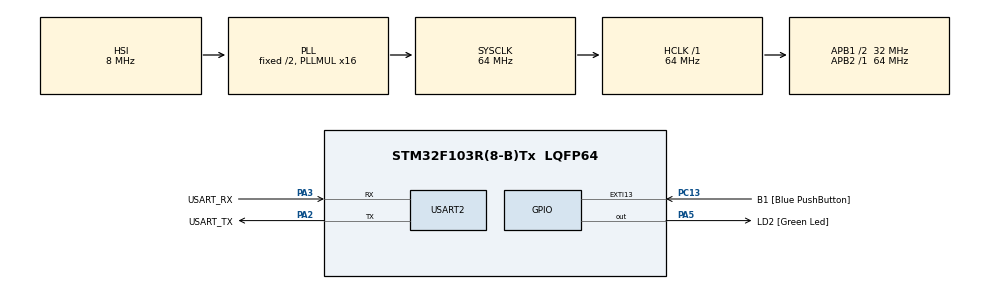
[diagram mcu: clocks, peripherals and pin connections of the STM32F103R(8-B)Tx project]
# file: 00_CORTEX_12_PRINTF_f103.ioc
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Mcu.Family=STM32F1
Mcu.Name=STM32F103R(8-B)Tx
Mcu.Package=LQFP64
NVIC.EXTI15_10_IRQn=true\:0\:0\:false\:false\:true\:true\:true\:true
NVIC.PriorityGroup=NVIC_PRIORITYGROUP_4
PA13.GPIO_Label=TMS
PA13.Mode=Serial_Wire
PA13.Signal=SYS_JTMS-SWDIO
PA14.GPIO_Label=TCK
PA14.Mode=Serial_Wire
PA14.Signal=SYS_JTCK-SWCLK
PA2.GPIO_Label=USART_TX
PA2.GPIO_Mode=GPIO_MODE_AF_PP
PA2.GPIO_PuPd=GPIO_NOPULL
PA2.GPIO_Speed=GPIO_SPEED_FREQ_LOW
PA2.Mode=Asynchronous
PA2.Signal=USART2_TX
PA3.GPIO_Label=USART_RX
PA3.GPIO_Mode=GPIO_MODE_AF_PP
PA3.GPIO_PuPd=GPIO_NOPULL
PA3.GPIO_Speed=GPIO_SPEED_FREQ_LOW
PA3.Mode=Asynchronous
PA3.Signal=USART2_RX
PA5.GPIO_Label=LD2 [Green Led]
PA5.GPIO_ModeDefaultOutputPP=GPIO_MODE_OUTPUT_PP
PA5.GPIO_PuPd=GPIO_NOPULL
PA5.GPIO_Speed=GPIO_SPEED_FREQ_LOW
PA5.Signal=GPIO_Output
PB3.GPIO_Label=SWO
PB3.Signal=SYS_JTDO-TRACESWO
PC13-TAMPER-RTC.GPIO_Label=B1 [Blue PushButton]
PC13-TAMPER-RTC.GPIO_PuPd=GPIO_NOPULL
PC13-TAMPER-RTC.Signal=GPXTI13
PC14-OSC32_IN.Mode=LSE-External-Oscillator
PC14-OSC32_IN.Signal=RCC_OSC32_IN
PC15-OSC32_OUT.Mode=LSE-External-Oscillator
PC15-OSC32_OUT.Signal=RCC_OSC32_OUT
PD0-OSC_IN.Mode=HSE-External-Clock-Source
PD0-OSC_IN.Signal=RCC_OSC_IN
PD1-OSC_OUT.Mode=HSE-External-Clock-Source
PD1-OSC_OUT.Signal=RCC_OSC_OUT
ProjectManager.HeapSize=0x200
ProjectManager.StackSize=0x400
ProjectManager.TargetToolchain=STM32CubeIDE
RCC.AHBFreq_Value=64000000
RCC.APB1CLKDivider=RCC_HCLK_DIV2
RCC.APB1Freq_Value=32000000
RCC.APB1TimFreq_Value=64000000
RCC.APB2Freq_Value=64000000
RCC.APB2TimFreq_Value=64000000
RCC.HCLKFreq_Value=64000000
RCC.PLLMUL=RCC_PLL_MUL16
RCC.RTCClockSelection=RCC_RTCCLKSOURCE_LSE
RCC.SYSCLKFreq_VALUE=64000000
RCC.SYSCLKSource=RCC_SYSCLKSOURCE_PLLCLK
RCC.USBFreq_Value=64000000
USART2.VirtualMode=VM_ASYNC
board=NUCLEO-F103RB

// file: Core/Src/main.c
/* USER CODE BEGIN Header */
/**
  ******************************************************************************
  * @file           : main.c
  * @brief          : Main program body
  ******************************************************************************
  * @attention
  *
  * Copyright (c) 2022 STMicroelectronics.
  * All rights reserved.
  *
  * This software is licensed under terms that can be found in the LICENSE file
  * in the root directory of this software component.
  * If no LICENSE file comes with this software, it is provided AS-IS.
  *
  ******************************************************************************
  */
/* USER CODE END Header */
#include "main.h"

/* USER CODE BEGIN Includes */
#include "app_counter.h"
#include <stdio.h>

/* USER CODE END Includes */

 UART_HandleTypeDef huart2;

void SystemClock_Config(void);
static void MX_GPIO_Init(void);
static void MX_USART2_UART_Init(void);

/* USER CODE BEGIN 0 */
int __io_putchar(int ch)
{
 if ( ch == '\n' )
	 HAL_UART_Transmit(&huart2, (uint8_t*)&"\r", 1, HAL_MAX_DELAY);
 HAL_UART_Transmit(&huart2, (uint8_t*)&ch, 1, HAL_MAX_DELAY);
 return ch;
}

int __io_getchar(void)
{
	uint8_t ch;

	while( HAL_OK != HAL_UART_Receive(&huart2, &ch, 1, HAL_MAX_DELAY) )
	{
		;
	}
	return ch;
}

/* USER CODE END 0 */

int main(void)
{

  /* MCU Configuration--------------------------------------------------------*/

  /* Reset of all peripherals, Initializes the Flash interface and the Systick. */
  HAL_Init();

  /* Configure the system clock */
  SystemClock_Config();

  /* Initialize all configured peripherals */
  MX_GPIO_Init();
  MX_USART2_UART_Init();
  /* USER CODE BEGIN 2 */
  AppCounter greeting_counter;
  AppCounter_Init(&greeting_counter, 3U);

  while (AppCounter_Increment(&greeting_counter))
  {
    printf("(%lu)HELLO, STM32!\n",
           (unsigned long)AppCounter_Value(&greeting_counter));
  }

  /* USER CODE END 2 */

  /* Infinite loop */
  while (1)
  {

  }
}

void SystemClock_Config(void)
{
  RCC_OscInitTypeDef RCC_OscInitStruct = {0};
  RCC_ClkInitTypeDef RCC_ClkInitStruct = {0};

  /** Initializes the RCC Oscillators according to the specified parameters
  * in the RCC_OscInitTypeDef structure.
  */
  RCC_OscInitStruct.OscillatorType = RCC_OSCILLATORTYPE_HSI;
  RCC_OscInitStruct.HSIState = RCC_HSI_ON;
  RCC_OscInitStruct.HSICalibrationValue = RCC_HSICALIBRATION_DEFAULT;
  RCC_OscInitStruct.PLL.PLLState = RCC_PLL_ON;
  RCC_OscInitStruct.PLL.PLLSource = RCC_PLLSOURCE_HSI_DIV2;
  RCC_OscInitStruct.PLL.PLLMUL = RCC_PLL_MUL16;
  if (HAL_RCC_OscConfig(&RCC_OscInitStruct) != HAL_OK)
  {
    Error_Handler();
  }

  /** Initializes the CPU, AHB and APB buses clocks
  */
  RCC_ClkInitStruct.ClockType = RCC_CLOCKTYPE_HCLK|RCC_CLOCKTYPE_SYSCLK
                              |RCC_CLOCKTYPE_PCLK1|RCC_CLOCKTYPE_PCLK2;
  RCC_ClkInitStruct.SYSCLKSource = RCC_SYSCLKSOURCE_PLLCLK;
  RCC_ClkInitStruct.AHBCLKDivider = RCC_SYSCLK_DIV1;
  RCC_ClkInitStruct.APB1CLKDivider = RCC_HCLK_DIV2;
  RCC_ClkInitStruct.APB2CLKDivider = RCC_HCLK_DIV1;

  if (HAL_RCC_ClockConfig(&RCC_ClkInitStruct, FLASH_LATENCY_2) != HAL_OK)
  {
    Error_Handler();
  }
}

static void MX_USART2_UART_Init(void)
{

  huart2.Instance = USART2;
  huart2.Init.BaudRate = 115200;
  huart2.Init.WordLength = UART_WORDLENGTH_8B;
  huart2.Init.StopBits = UART_STOPBITS_1;
  huart2.Init.Parity = UART_PARITY_NONE;
  huart2.Init.Mode = UART_MODE_TX_RX;
  huart2.Init.HwFlowCtl = UART_HWCONTROL_NONE;
  huart2.Init.OverSampling = UART_OVERSAMPLING_16;
  if (HAL_UART_Init(&huart2) != HAL_OK)
  {
    Error_Handler();
  }

}

static void MX_GPIO_Init(void)
{
  GPIO_InitTypeDef GPIO_InitStruct = {0};

  /* GPIO Ports Clock Enable */
  __HAL_RCC_GPIOC_CLK_ENABLE();
  __HAL_RCC_GPIOD_CLK_ENABLE();
  __HAL_RCC_GPIOA_CLK_ENABLE();
  __HAL_RCC_GPIOB_CLK_ENABLE();

  /*Configure GPIO pin Output Level */
  HAL_GPIO_WritePin(LD2_GPIO_Port, LD2_Pin, GPIO_PIN_RESET);

  /*Configure GPIO pin : B1_Pin */
  GPIO_InitStruct.Pin = B1_Pin;
  GPIO_InitStruct.Mode = GPIO_MODE_IT_RISING;
  GPIO_InitStruct.Pull = GPIO_NOPULL;
  HAL_GPIO_Init(B1_GPIO_Port, &GPIO_InitStruct);

  /*Configure GPIO pin : LD2_Pin */
  GPIO_InitStruct.Pin = LD2_Pin;
  GPIO_InitStruct.Mode = GPIO_MODE_OUTPUT_PP;
  GPIO_InitStruct.Pull = GPIO_NOPULL;
  GPIO_InitStruct.Speed = GPIO_SPEED_FREQ_LOW;
  HAL_GPIO_Init(LD2_GPIO_Port, &GPIO_InitStruct);

  /* EXTI interrupt init*/
  HAL_NVIC_SetPriority(EXTI15_10_IRQn, 0, 0);
  HAL_NVIC_EnableIRQ(EXTI15_10_IRQn);

}

void Error_Handler(void)
{
  __disable_irq();
  while (1)
  {
  }
}
